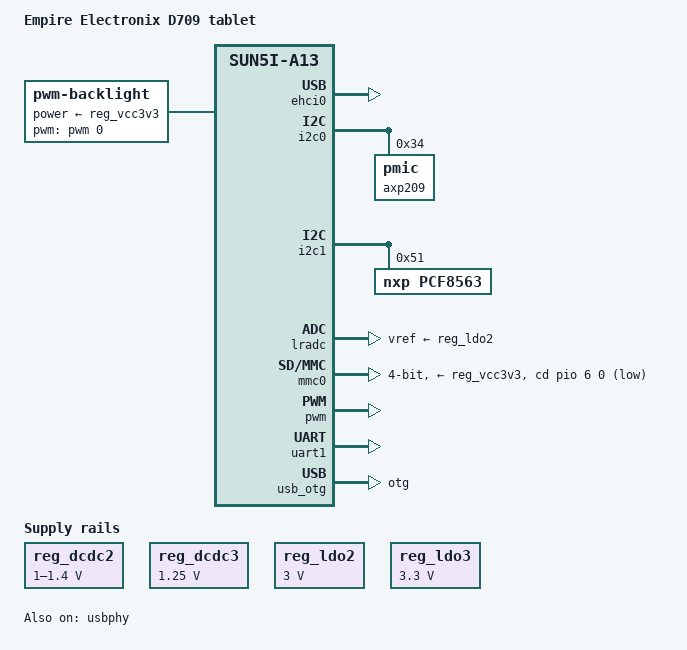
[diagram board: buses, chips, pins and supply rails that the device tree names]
/*
 * Copyright 2015 Hans de Goede <hdegoede@redhat.com>
 *
 * This file is dual-licensed: you can use it either under the terms
 * of the GPL or the X11 license, at your option. Note that this dual
 * licensing only applies to this file, and not this project as a
 * whole.
 *
 *  a) This file is free software; you can redistribute it and/or
 *     modify it under the terms of the GNU General Public License as
 *     published by the Free Software Foundation; either version 2 of the
 *     License, or (at your option) any later version.
 *
 *     This file is distributed in the hope that it will be useful,
 *     but WITHOUT ANY WARRANTY; without even the implied warranty of
 *     MERCHANTABILITY or FITNESS FOR A PARTICULAR PURPOSE.  See the
 *     GNU General Public License for more details.
 *
 * Or, alternatively,
 *
 *  b) Permission is hereby granted, free of charge, to any person
 *     obtaining a copy of this software and associated documentation
 *     files (the "Software"), to deal in the Software without
 *     restriction, including without limitation the rights to use,
 *     copy, modify, merge, publish, distribute, sublicense, and/or
 *     sell copies of the Software, and to permit persons to whom the
 *     Software is furnished to do so, subject to the following
 *     conditions:
 *
 *     The above copyright notice and this permission notice shall be
 *     included in all copies or substantial portions of the Software.
 *
 *     THE SOFTWARE IS PROVIDED "AS IS", WITHOUT WARRANTY OF ANY KIND,
 *     EXPRESS OR IMPLIED, INCLUDING BUT NOT LIMITED TO THE WARRANTIES
 *     OF MERCHANTABILITY, FITNESS FOR A PARTICULAR PURPOSE AND
 *     NONINFRINGEMENT. IN NO EVENT SHALL THE AUTHORS OR COPYRIGHT
 *     HOLDERS BE LIABLE FOR ANY CLAIM, DAMAGES OR OTHER LIABILITY,
 *     WHETHER IN AN ACTION OF CONTRACT, TORT OR OTHERWISE, ARISING
 *     FROM, OUT OF OR IN CONNECTION WITH THE SOFTWARE OR THE USE OR
 *     OTHER DEALINGS IN THE SOFTWARE.
 */

/dts-v1/;
#include "sun5i-a13.dtsi"
#include "sunxi-common-regulators.dtsi"
#include <dt-bindings/gpio/gpio.h>
#include <dt-bindings/input/input.h>
#include <dt-bindings/interrupt-controller/irq.h>
#include <dt-bindings/pwm/pwm.h>

/ {
	model = "Empire Electronix D709 tablet";
	compatible = "empire-electronix,d709", "allwinner,sun5i-a13";

	aliases {
		serial0 = &uart1;
	};

	backlight: backlight {
		compatible = "pwm-backlight";
		pwms = <&pwm 0 50000 PWM_POLARITY_INVERTED>;
		brightness-levels = <0 10 20 30 40 50 60 70 80 90 100>;
		default-brightness-level = <8>;
		power-supply = <&reg_vcc3v3>;
		/* TODO: backlight uses axp gpio1 as enable pin */
	};

	chosen {
		stdout-path = "serial0:115200n8";
	};
};

&cpu0 {
	cpu-supply = <&reg_dcdc2>;
};

&ehci0 {
	status = "okay";
};

&i2c0 {
	status = "okay";

	axp209: pmic@34 {
		reg = <0x34>;
		interrupts = <0>;
	};
};

#include "axp209.dtsi"

&i2c1 {
	status = "okay";

	pcf8563: rtc@51 {
		compatible = "nxp,pcf8563";
		reg = <0x51>;
	};
};

&lradc {
	vref-supply = <&reg_ldo2>;
	status = "okay";

	button-200 {
		label = "Volume Up";
		linux,code = <KEY_VOLUMEUP>;
		channel = <0>;
		voltage = <200000>;
	};

	button-400 {
		label = "Volume Down";
		linux,code = <KEY_VOLUMEDOWN>;
		channel = <0>;
		voltage = <400000>;
	};
};

&mmc0 {
	vmmc-supply = <&reg_vcc3v3>;
	bus-width = <4>;
	cd-gpios = <&pio 6 0 GPIO_ACTIVE_LOW>; /* PG0 */
	status = "okay";
};

&otg_sram {
	status = "okay";
};

&pwm {
	pinctrl-names = "default";
	pinctrl-0 = <&pwm0_pin>;
	status = "okay";
};

&reg_dcdc2 {
	regulator-always-on;
	regulator-min-microvolt = <1000000>;
	regulator-max-microvolt = <1400000>;
	regulator-name = "vdd-cpu";
};

&reg_dcdc3 {
	regulator-always-on;
	regulator-min-microvolt = <1250000>;
	regulator-max-microvolt = <1250000>;
	regulator-name = "vdd-int-pll";
};

&reg_ldo1 {
	regulator-name = "vdd-rtc";
};

&reg_ldo2 {
	regulator-always-on;
	regulator-min-microvolt = <3000000>;
	regulator-max-microvolt = <3000000>;
	regulator-name = "avcc";
};

&reg_ldo3 {
	regulator-min-microvolt = <3300000>;
	regulator-max-microvolt = <3300000>;
	regulator-name = "vcc-wifi";
};

&reg_usb0_vbus {
	gpio = <&pio 6 12 GPIO_ACTIVE_HIGH>; /* PG12 */
	status = "okay";
};

&uart1 {
	pinctrl-names = "default";
	pinctrl-0 = <&uart1_pg_pins>;
	status = "okay";
};

&usb_otg {
	dr_mode = "otg";
	status = "okay";
};

&usbphy {
	usb0_id_det-gpios = <&pio 6 2 (GPIO_ACTIVE_HIGH | GPIO_PULL_UP)>; /* PG2 */
	usb0_vbus_det-gpios = <&pio 6 1 (GPIO_ACTIVE_HIGH | GPIO_PULL_DOWN)>; /* PG1 */
	usb0_vbus-supply = <&reg_usb0_vbus>;
	usb1_vbus-supply = <&reg_ldo3>;
	status = "okay";
};
